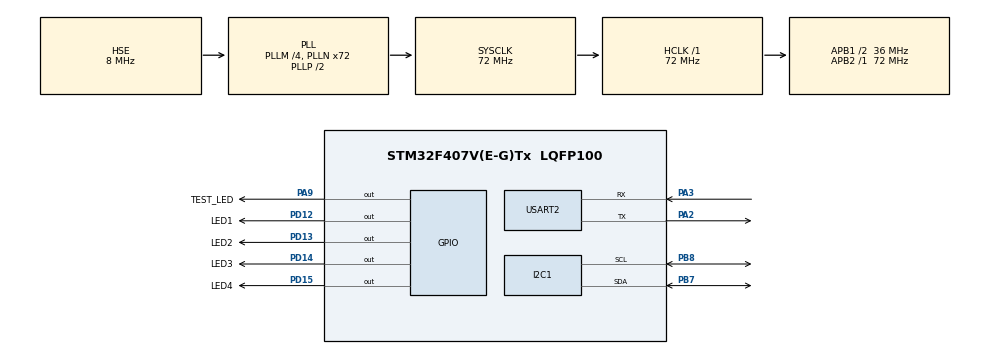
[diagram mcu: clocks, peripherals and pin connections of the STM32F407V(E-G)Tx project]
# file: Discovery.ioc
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Mcu.Family=STM32F4
Mcu.Name=STM32F407V(E-G)Tx
Mcu.Package=LQFP100
NVIC.PriorityGroup=NVIC_PRIORITYGROUP_4
NVIC.USART2_IRQn=true\:0\:0\:false\:false\:true\:true\:true\:true
PA13.Mode=Trace_Asynchronous_SW
PA13.Signal=SYS_JTMS-SWDIO
PA14.Mode=Trace_Asynchronous_SW
PA14.Signal=SYS_JTCK-SWCLK
PA2.Mode=Asynchronous
PA2.Signal=USART2_TX
PA3.Mode=Asynchronous
PA3.Signal=USART2_RX
PA9.GPIO_Label=TEST_LED
PA9.Signal=GPIO_Output
PB3.Mode=Trace_Asynchronous_SW
PB3.Signal=SYS_JTDO-SWO
PB7.Mode=I2C
PB7.Signal=I2C1_SDA
PB8.Mode=I2C
PB8.Signal=I2C1_SCL
PD12.GPIO_Label=LED1
PD12.Signal=GPIO_Output
PD13.GPIO_Label=LED2
PD13.Signal=GPIO_Output
PD14.GPIO_Label=LED3
PD14.Signal=GPIO_Output
PD15.GPIO_Label=LED4
PD15.Signal=GPIO_Output
PH0-OSC_IN.Mode=HSE-External-Oscillator
PH0-OSC_IN.Signal=RCC_OSC_IN
PH1-OSC_OUT.Mode=HSE-External-Oscillator
PH1-OSC_OUT.Signal=RCC_OSC_OUT
ProjectManager.HeapSize=0x200
ProjectManager.StackSize=0x400
ProjectManager.TargetToolchain=Makefile
RCC.48MHZClocksFreq_Value=36000000
RCC.AHBFreq_Value=72000000
RCC.APB1CLKDivider=RCC_HCLK_DIV2
RCC.APB1Freq_Value=36000000
RCC.APB1TimFreq_Value=72000000
RCC.APB2Freq_Value=72000000
RCC.APB2TimFreq_Value=72000000
RCC.CortexFreq_Value=72000000
RCC.HCLKFreq_Value=72000000
RCC.HSE_VALUE=8000000
RCC.HSI_VALUE=16000000
RCC.LSE_VALUE=32768
RCC.PLLM=4
RCC.PLLN=72
RCC.PLLSourceVirtual=RCC_PLLSOURCE_HSE
RCC.SYSCLKFreq_VALUE=72000000
RCC.SYSCLKSource=RCC_SYSCLKSOURCE_PLLCLK
RCC.VCOOutputFreq_Value=144000000
USART2.VirtualMode=VM_ASYNC
board=custom

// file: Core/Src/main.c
/* USER CODE BEGIN Header */
/**
  ******************************************************************************
  * @file           : main.c
  * @brief          : Main program body
  ******************************************************************************
  * @attention
  *
  * Copyright (c) 2024 STMicroelectronics.
  * All rights reserved.
  *
  * This software is licensed under terms that can be found in the LICENSE file
  * in the root directory of this software component.
  * If no LICENSE file comes with this software, it is provided AS-IS.
  *
  ******************************************************************************
  */
/* USER CODE END Header */
#include "main.h"
#include "i2c.h"
#include "usart.h"
#include "gpio.h"

/* USER CODE BEGIN Includes */
#include <stdio.h>
#include <stdlib.h>
#include <string.h>
/* USER CODE END Includes */

/* USER CODE BEGIN PD */

// HOME POSISTIONS FOR EACH JOINT
#define JOINT1_HOME 90
#define JOINT2_HOME 0
#define JOINT3_HOME 0
#define JOINT4_HOME 0
#define JOINT5_HOME 0
#define ACTUATOR_HOME 0

/* USER CODE END PD */

/* USER CODE BEGIN PV */

#define UART_BUFFER_SIZE 256
volatile uint8_t rx_byte;                        // For receiving single byte
volatile uint8_t uart_buffer[UART_BUFFER_SIZE];  // Circular buffer
volatile uint16_t buffer_index = 0;     // Index for storing data

volatile uint8_t uart_received = 0; // Flag to indicate a new message is available
volatile char received_string[UART_BUFFER_SIZE]; // Store the received string
volatile char previous_string[UART_BUFFER_SIZE]; // Store the received string

int joint1 = JOINT1_HOME;
int joint2 = JOINT2_HOME;
int joint3 = JOINT3_HOME;
int joint4 = JOINT4_HOME;
int joint5 = JOINT5_HOME;
int actuator = ACTUATOR_HOME;

int prev_joint1, prev_joint2, prev_joint3, prev_joint4, prev_joint5, prev_actuator;
/* USER CODE END PV */

void SystemClock_Config(void);
/* USER CODE BEGIN PFP */
#define PUTCHAR_PROTOTYPE int __io_putchar(int ch)
/* USER CODE END PFP */

int main(void)
{

  /* MCU Configuration--------------------------------------------------------*/

  /* Reset of all peripherals, Initializes the Flash interface and the Systick. */
  HAL_Init();

  /* Configure the system clock */
  SystemClock_Config();

  /* Initialize all configured peripherals */
  MX_GPIO_Init();
  MX_I2C1_Init();
  MX_USART2_UART_Init();
  /* USER CODE BEGIN 2 */

  HAL_UART_Receive_IT(&huart2, &rx_byte, 1); // Start receiving single bytes in interrupt mode
  HomeSet(); // Set all joints to home position

  /* USER CODE END 2 */

  /* Infinite loop */
  /* USER CODE BEGIN WHILE */
  while (1)
  {
    ToggleLEDs();

    /* USER CODE END WHILE */

  }
}

void SystemClock_Config(void)
{
  RCC_OscInitTypeDef RCC_OscInitStruct = {0};
  RCC_ClkInitTypeDef RCC_ClkInitStruct = {0};

  /** Configure the main internal regulator output voltage
  */
  __HAL_RCC_PWR_CLK_ENABLE();
  __HAL_PWR_VOLTAGESCALING_CONFIG(PWR_REGULATOR_VOLTAGE_SCALE1);

  /** Initializes the RCC Oscillators according to the specified parameters
  * in the RCC_OscInitTypeDef structure.
  */
  RCC_OscInitStruct.OscillatorType = RCC_OSCILLATORTYPE_HSE;
  RCC_OscInitStruct.HSEState = RCC_HSE_ON;
  RCC_OscInitStruct.PLL.PLLState = RCC_PLL_ON;
  RCC_OscInitStruct.PLL.PLLSource = RCC_PLLSOURCE_HSE;
  RCC_OscInitStruct.PLL.PLLM = 4;
  RCC_OscInitStruct.PLL.PLLN = 72;
  RCC_OscInitStruct.PLL.PLLP = RCC_PLLP_DIV2;
  RCC_OscInitStruct.PLL.PLLQ = 4;
  if (HAL_RCC_OscConfig(&RCC_OscInitStruct) != HAL_OK)
  {
    Error_Handler();
  }

  /** Initializes the CPU, AHB and APB buses clocks
  */
  RCC_ClkInitStruct.ClockType = RCC_CLOCKTYPE_HCLK|RCC_CLOCKTYPE_SYSCLK
                              |RCC_CLOCKTYPE_PCLK1|RCC_CLOCKTYPE_PCLK2;
  RCC_ClkInitStruct.SYSCLKSource = RCC_SYSCLKSOURCE_PLLCLK;
  RCC_ClkInitStruct.AHBCLKDivider = RCC_SYSCLK_DIV1;
  RCC_ClkInitStruct.APB1CLKDivider = RCC_HCLK_DIV2;
  RCC_ClkInitStruct.APB2CLKDivider = RCC_HCLK_DIV1;

  if (HAL_RCC_ClockConfig(&RCC_ClkInitStruct, FLASH_LATENCY_2) != HAL_OK)
  {
    Error_Handler();
  }
}

/* USER CODE BEGIN 4 */

/**
  * @brief  Retargets the C library printf function to the USART.
  * @retval None
  */
 PUTCHAR_PROTOTYPE
 {
   /* Place your implementation of fputc here */
   /* e.g. write a character to the USART1 and Loop until the end of transmission */
   HAL_UART_Transmit(&huart2, (uint8_t *)&ch, 1, 0xFFFF);

   return ch;
 }

 void HAL_UART_RxCpltCallback(UART_HandleTypeDef *huart)
{
    if (huart->Instance == USART2) // Correct UART instance
    {
        // Store received byte in buffer
        if (buffer_index < UART_BUFFER_SIZE - 1)
        {
            uart_buffer[buffer_index++] = rx_byte;

            // Check for newline or carriage return
            if (rx_byte == '\n' || rx_byte == '\r')
            {
                uart_buffer[buffer_index] = '\0'; // Null-terminate the string
                buffer_index = 0;                // Reset the index for the next string

                // Copy received string to the global buffer for main loop access
                strcpy((char *)received_string, (char *)uart_buffer);

                if(strcmp("print", (char* )received_string)){
                  ProcessReceivedString((char *)received_string);
                  strcpy((char *)previous_string, (char *)received_string);
                }
                else if(strcmp((char *)received_string, (char *)previous_string)){
                  ProcessReceivedString((char *)received_string);
                  strcpy((char *)previous_string, (char *)received_string);
                }

            }
        }
        else
        {
            // Buffer overflow, reset index
            buffer_index = 0;
            printf("Buffer overflow\n");
        }

        // Restart UART reception for the next byte
        HAL_UART_Receive_IT(&huart2, &rx_byte, 1);
    }
}

// Function to process the received string
void ProcessReceivedString(char *str)
{
    // Check if the string starts with "set"
    if (strncmp(str, "set", 3) == 0)
    {
        // Move the pointer to after "set" and the space
        str += 4;  // Skip "set " (4 characters)

        // Now we expect a format like "000-000-000-000-000-000"
        if (sscanf(str, "%3d-%3d-%3d-%3d-%3d-%3d", &joint1, &joint2, &joint3, &joint4, &joint5, &actuator) == 6)
        {
            // Successfully parsed the 6 numbers
            printf("Received numbers: %d %d %d %d %d %d\n", joint1, joint2, joint3, joint4, joint5, actuator);

            // Check for changes in each joint and send new values if changed
            if (joint1 != prev_joint1) {
                // send to joint
                prev_joint1 = joint1;
            }
            if (joint2 != prev_joint2) {
                // send to joint
                prev_joint2 = joint2;
            }
            if (joint3 != prev_joint3) {
                // send to joint
                prev_joint3 = joint3;
            }
            if (joint4 != prev_joint4) {
                // send to joint
                prev_joint4 = joint4;
            }
            if (joint5 != prev_joint5) {
                // send to joint
                prev_joint5 = joint5;
            }
            if (actuator != prev_actuator) {
                // send to actuator
                prev_actuator = actuator;
            }
        }
        else
        {
            printf("Invalid format!\n");
        }
    }
    // Just setting joint1
    else if (strncmp(str, "joint1", 6) == 0)
    {
        str += 7;

        if (sscanf(str, "%3d", &joint1) == 1)
        {
            // Successfully parsed joint1
            printf("Joint1 set: %d\n", joint1);

            if (joint1 != prev_joint1) {
                Joint1Set(joint1);
                prev_joint1 = joint1;
            }
        }
        else
        {
            printf("Invalid format!\n");
        }
    }

    // Just setting joint2
    else if (strncmp(str, "joint2", 6) == 0)
    {
        str += 7;

        if (sscanf(str, "%3d", &joint2) == 1)
        {
            // Successfully parsed joint2
            printf("Joint2 set: %d\n", joint2);

            if (joint2 != prev_joint2) {
                Joint2Set(joint2);
                prev_joint2 = joint2;
            }
        }
        else
        {
            printf("Invalid format!\n");
        }
    }

    // Just setting joint3
    else if (strncmp(str, "joint3", 6) == 0)
    {
        str += 7;

        if (sscanf(str, "%3d", &joint3) == 1)
        {
            // Successfully parsed joint3
            printf("Joint3 set: %d\n", joint3);

            if (joint3 != prev_joint3) {
                Joint3Set(joint3);
                prev_joint3 = joint3;
            }
        }
        else
        {
            printf("Invalid format!\n");
        }
    }

    // Just setting joint4
    else if (strncmp(str, "joint4", 6) == 0)
    {
        str += 7;

        if (sscanf(str, "%3d", &joint4) == 1)
        {
            // Successfully parsed joint4
            printf("Joint4 set: %d\n", joint4);

            if (joint4 != prev_joint4) {
                Joint4Set(joint4);
                prev_joint4 = joint4;
            }
        }
        else
        {
            printf("Invalid format!\n");
        }
    }

    // Just setting joint5
    else if (strncmp(str, "joint5", 6) == 0)
    {
        str += 7;

        if (sscanf(str, "%3d", &joint5) == 1)
        {
            // Successfully parsed joint5
            printf("Joint5 set: %d\n", joint5);

            if (joint5 != prev_joint5) {
                Joint5Set(joint5);
                prev_joint5 = joint5;
            }
        }
        else
        {
            printf("Invalid format!\n");
        }
    }

    // Just setting actuator
    else if (strncmp(str, "actuator", 8) == 0)
    {
        str += 9;

        if (sscanf(str, "%3d", &actuator) == 1)
        {
            // Successfully parsed joint5
            printf("Actuator set: %d\n", actuator);

            if (actuator != actuator) {
                ActuatorSet(actuator);
                prev_actuator = actuator;
            }
        }
        else
        {
            printf("Invalid format!\n");
        }
    }

    // Set Home
    else if (strncmp(str, "home", 4) == 0)
    {
        str += 5;

        HomeSet();

        printf("Set all joints home\n");

    }

    // Prints all joints
    else if (strncmp(str, "print", 5) == 0)
    {
       printf("Joint1: %d\n", joint1);
       printf("Joint2: %d\n", joint2);
       printf("Joint3: %d\n", joint3);
       printf("Joint4: %d\n", joint4);
       printf("Joint5: %d\n", joint5);
       printf("Actuator: %d\n", actuator);
    }

    // Echoes string if no keywords are sent
    else
    {
        printf("Received: %s\n", str);
    }
}

void ToggleLEDs(){
  /* Toggle LEDs sequentially */
  HAL_GPIO_TogglePin(LED1_GPIO_Port, LED1_Pin);
  HAL_Delay(100);
  HAL_GPIO_TogglePin(LED2_GPIO_Port, LED2_Pin);
  HAL_Delay(100);
  HAL_GPIO_TogglePin(LED3_GPIO_Port, LED3_Pin);
  HAL_Delay(100);
  HAL_GPIO_TogglePin(LED4_GPIO_Port, LED4_Pin);
  HAL_Delay(100);

}

void HomeSet(){
  //Set all joints to home
  joint1 = JOINT1_HOME;
  Joint1Set(joint1);
  joint2 = JOINT2_HOME;
  Joint2Set(joint2);
  joint3 = JOINT3_HOME;
  Joint3Set(joint3);
  joint4 = JOINT4_HOME;
  Joint4Set(joint4);
  joint5 = JOINT5_HOME;
  Joint5Set(joint5);
  actuator = ACTUATOR_HOME;
  ActuatorSet(actuator);
}

void Joint1Set(int theta){
  //Set joint
}

void Joint2Set(int theta){
  //Set joint
}

void Joint3Set(int theta){
  //Set joint

}

void Joint4Set(int theta){
  //Set joint

}

void Joint5Set(int theta){
  //Set joint

}

void ActuatorSet(int theta){
  //Set joint

}
/* USER CODE END 4 */

void Error_Handler(void)
{
  __disable_irq();
  while (1)
  {
  }
}
